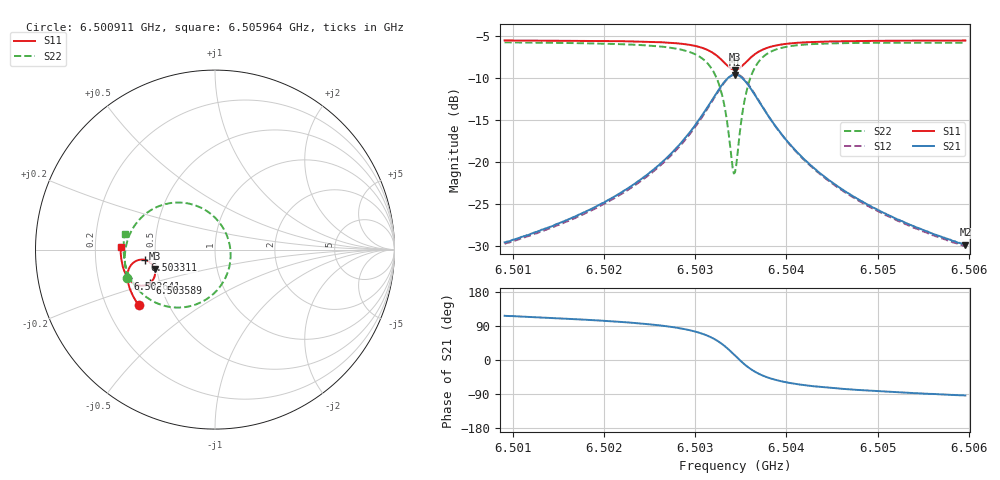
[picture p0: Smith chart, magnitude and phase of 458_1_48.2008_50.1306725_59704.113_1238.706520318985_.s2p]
#  HZ  S  RI  R  50.00
! Rohde & Schwarz Vector Network Analyzer
! Rohde-Schwarz,ZNB20-2Port,1311601062101988,3.16
! Created: UTC 3/20/2024, 11:56:37 AM
! freq[Hz]  re:S11  im:S11  re:S21  im:S21  re:S12  im:S12  re:S22  im:S22
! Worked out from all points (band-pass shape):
!   401 points, 6.500911 GHz to 6.505964 GHz, reference 50 ohm
!   highest |S21| = -9.64 dB at 6.503437 GHz (marker M1); lowest = -29.8 dB at 6.505964 GHz (marker M2)
!   |S21| within 3 dB of the highest: 6.503185 GHz to 6.50369 GHz (505.2 kHz wide, 0.00777 % of centre)
!   lowest |S11| = -9.0 dB at 6.503437 GHz (marker M3), VSWR 2.09, Z = 24.3 - j5.91 ohm
!   |S11| at or under -10 dB: nowhere
!   |S22| runs from -21.4 to -5.8 dB; largest |S21 - S12| = 0.012
!   S11 on the Smith chart (normalised r, x): 6.500911 GHz: 0.34, -0.29; 6.502641 GHz: 0.33, -0.14; 6.503311 GHz: 0.44, -0.06; 6.503589 GHz: 0.44, -0.20; 6.505964 GHz: 0.31, +0.01
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6.5009106e9  -0.4248 -0.3111  -0.015 0.0298  -0.0132 0.0299  -0.4881 -0.1588
6.501757e9  -0.4614 -0.2488  -0.0143 0.0475  -0.0119 0.0471  -0.5022 -0.0694
6.5021992e9  -0.4772 -0.2099  -0.0118 0.0654  -0.00875 0.0644  -0.4999 -0.00767
6.5026034e9  -0.487 -0.1658  -0.00259 0.096  0.0012 0.0939  -0.4804 0.0716
6.5026413e9  -0.4874 -0.1609  -0.000866 0.1004  0.00299 0.0979  -0.4765 0.081
6.5029193e9  -0.4836 -0.1181  0.0257 0.1427  0.0295 0.1384  -0.4216 0.1667
6.5031087e9  -0.4623 -0.0801  0.0796 0.1848  0.0822 0.1786  -0.3187 0.2394
6.5032224e9  -0.4299 -0.0591  0.1484 0.2026  0.1494 0.1962  -0.1947 0.2621
6.5033109e9  -0.3896 -0.0574  0.2279 0.1866  0.2285 0.1815  -0.0576 0.2226
6.5033488e9  -0.3702 -0.0649  0.2644 0.1637  0.2654 0.159  0.00256 0.1758
6.5034119e9  -0.3433 -0.0917  0.3124 0.0998  0.3151 0.0947  0.0752 0.0529
6.5034372e9  -0.3369 -0.1063  0.3227 0.0676  0.326 0.0616  0.0864 -0.00718
6.5034625e9  -0.3339 -0.1221  0.3264 0.0338  0.33 0.0268  0.0846 -0.0687
6.5035256e9  -0.3408 -0.1594  0.3084 -0.0443  0.3107 -0.0546  0.0294 -0.2047
6.5035888e9  -0.3621 -0.1856  0.2654 -0.0988  0.2644 -0.1103  -0.0674 -0.2882
6.5036899e9  -0.4017 -0.201  0.1906 -0.1352  0.1853 -0.145  -0.218 -0.3227
6.5038541e9  -0.4481 -0.1913  0.1086 -0.1321  0.1015 -0.1374  -0.3656 -0.2761
6.504031e9  -0.4756 -0.17  0.064 -0.1121  0.0577 -0.1144  -0.4378 -0.2111
6.5042836e9  -0.4963 -0.1399  0.034 -0.0878  0.0292 -0.0883  -0.4813 -0.1389
6.5046752e9  -0.5122 -0.0991  0.0146 -0.0638  0.0112 -0.0635  -0.5043 -0.0621
6.50513e9  -0.5213 -0.0574  0.00504 -0.0478  0.00271 -0.0473  -0.5101 0.00161
6.5059638e9  -0.5261 0.0132  -0.00203 -0.0322  -0.00348 -0.0315  -0.5023 0.0894
